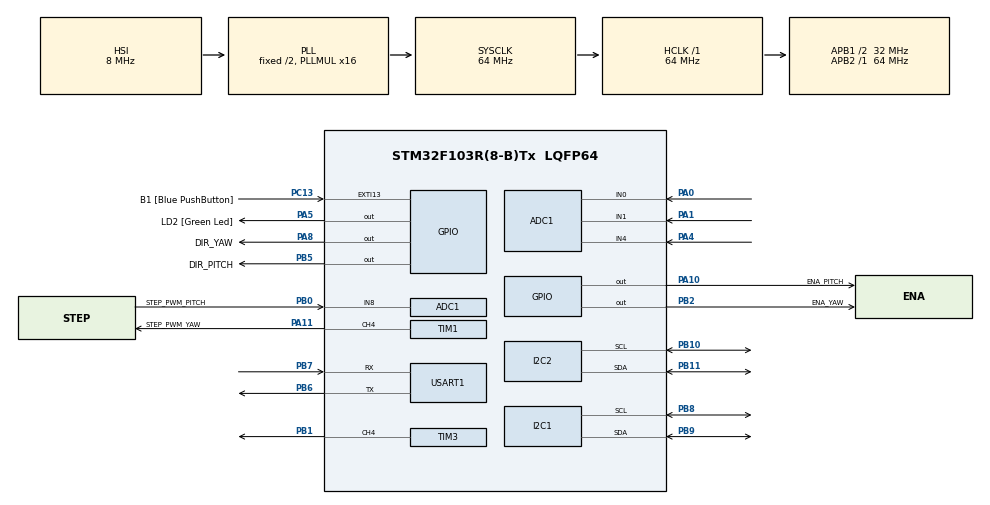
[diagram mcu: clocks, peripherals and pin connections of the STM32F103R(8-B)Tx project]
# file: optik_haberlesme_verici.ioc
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ADC1.Channel-1\#ChannelRegularConversion=ADC_CHANNEL_0
ADC1.Channel-2\#ChannelRegularConversion=ADC_CHANNEL_1
ADC1.Channel-3\#ChannelRegularConversion=ADC_CHANNEL_4
ADC1.Channel-4\#ChannelRegularConversion=ADC_CHANNEL_8
ADC1.ContinuousConvMode=ENABLE
ADC1.NbrOfConversion=4
ADC1.NbrOfConversionFlag=1
ADC1.Rank-1\#ChannelRegularConversion=1
ADC1.Rank-2\#ChannelRegularConversion=2
ADC1.Rank-3\#ChannelRegularConversion=3
ADC1.Rank-4\#ChannelRegularConversion=4
ADC1.SamplingTime-1\#ChannelRegularConversion=ADC_SAMPLETIME_28CYCLES_5
ADC1.SamplingTime-2\#ChannelRegularConversion=ADC_SAMPLETIME_28CYCLES_5
ADC1.SamplingTime-3\#ChannelRegularConversion=ADC_SAMPLETIME_28CYCLES_5
ADC1.SamplingTime-4\#ChannelRegularConversion=ADC_SAMPLETIME_28CYCLES_5
ADC1.master=1
Dma.ADC1.0.Direction=DMA_PERIPH_TO_MEMORY
Dma.ADC1.0.Instance=DMA1_Channel1
Dma.ADC1.0.MemDataAlignment=DMA_MDATAALIGN_HALFWORD
Dma.ADC1.0.MemInc=DMA_MINC_ENABLE
Dma.ADC1.0.Mode=DMA_CIRCULAR
Dma.ADC1.0.PeriphDataAlignment=DMA_PDATAALIGN_HALFWORD
Dma.ADC1.0.PeriphInc=DMA_PINC_DISABLE
Dma.ADC1.0.Priority=DMA_PRIORITY_MEDIUM
Dma.Request0=ADC1
Dma.Request1=USART1_RX
Dma.Request2=USART1_TX
Dma.USART1_RX.1.Direction=DMA_PERIPH_TO_MEMORY
Dma.USART1_RX.1.Instance=DMA1_Channel5
Dma.USART1_RX.1.MemDataAlignment=DMA_MDATAALIGN_BYTE
Dma.USART1_RX.1.MemInc=DMA_MINC_ENABLE
Dma.USART1_RX.1.Mode=DMA_CIRCULAR
Dma.USART1_RX.1.PeriphDataAlignment=DMA_PDATAALIGN_BYTE
Dma.USART1_RX.1.PeriphInc=DMA_PINC_DISABLE
Dma.USART1_RX.1.Priority=DMA_PRIORITY_HIGH
Dma.USART1_TX.2.Direction=DMA_MEMORY_TO_PERIPH
Dma.USART1_TX.2.Instance=DMA1_Channel4
Dma.USART1_TX.2.MemDataAlignment=DMA_MDATAALIGN_BYTE
Dma.USART1_TX.2.MemInc=DMA_MINC_ENABLE
Dma.USART1_TX.2.Mode=DMA_NORMAL
Dma.USART1_TX.2.PeriphDataAlignment=DMA_PDATAALIGN_BYTE
Dma.USART1_TX.2.PeriphInc=DMA_PINC_DISABLE
Dma.USART1_TX.2.Priority=DMA_PRIORITY_HIGH
Mcu.Family=STM32F1
Mcu.Name=STM32F103R(8-B)Tx
Mcu.Package=LQFP64
NVIC.DMA1_Channel1_IRQn=true\:0\:0\:false\:false\:true\:false\:true\:true
NVIC.DMA1_Channel4_IRQn=true\:0\:0\:false\:false\:true\:false\:true\:true
NVIC.DMA1_Channel5_IRQn=true\:0\:0\:false\:false\:true\:false\:true\:true
NVIC.EXTI15_10_IRQn=true\:0\:0\:false\:false\:true\:true\:true\:true
NVIC.PriorityGroup=NVIC_PRIORITYGROUP_4
NVIC.USART1_IRQn=true\:0\:0\:false\:false\:true\:true\:true\:true
PA0-WKUP.Signal=ADCx_IN0
PA1.Signal=ADCx_IN1
PA10.GPIO_Label=ENA_PITCH
PA10.PinState=GPIO_PIN_SET
PA10.Signal=GPIO_Output
PA11.GPIO_Label=STEP_PWM_YAW
PA11.Signal=S_TIM1_CH4
PA13.GPIO_Label=TMS
PA13.Mode=Serial_Wire
PA13.Signal=SYS_JTMS-SWDIO
PA14.GPIO_Label=TCK
PA14.Mode=Serial_Wire
PA14.Signal=SYS_JTCK-SWCLK
PA2.GPIO_Mode=GPIO_MODE_AF_PP
PA2.GPIO_PuPd=GPIO_NOPULL
PA2.GPIO_Speed=GPIO_SPEED_FREQ_LOW
PA2.Signal=USART2_TX
PA3.GPIO_Label=USART_RX
PA3.GPIO_Mode=GPIO_MODE_AF_PP
PA3.GPIO_PuPd=GPIO_NOPULL
PA3.GPIO_Speed=GPIO_SPEED_FREQ_LOW
PA3.Signal=USART2_RX
PA4.Signal=ADCx_IN4
PA5.GPIO_Label=LD2 [Green Led]
PA5.GPIO_ModeDefaultOutputPP=GPIO_MODE_OUTPUT_PP
PA5.GPIO_PuPd=GPIO_NOPULL
PA5.GPIO_Speed=GPIO_SPEED_FREQ_LOW
PA5.Signal=GPIO_Output
PA8.GPIO_Label=DIR_YAW
PA8.Signal=GPIO_Output
PB0.GPIO_Label=STEP_PWM_PITCH
PB0.Signal=ADCx_IN8
PB1.Signal=S_TIM3_CH4
PB10.Mode=I2C
PB10.Signal=I2C2_SCL
PB11.Mode=I2C
PB11.Signal=I2C2_SDA
PB2.GPIO_Label=ENA_YAW
PB2.Signal=GPIO_Output
PB3.GPIO_Label=SWO
PB3.Signal=SYS_JTDO-TRACESWO
PB5.GPIO_Label=DIR_PITCH
PB5.Signal=GPIO_Output
PB6.Mode=Asynchronous
PB6.Signal=USART1_TX
PB7.Mode=Asynchronous
PB7.Signal=USART1_RX
PB8.Mode=I2C
PB8.Signal=I2C1_SCL
PB9.Mode=I2C
PB9.Signal=I2C1_SDA
PC13-TAMPER-RTC.GPIO_Label=B1 [Blue PushButton]
PC13-TAMPER-RTC.GPIO_PuPd=GPIO_NOPULL
PC13-TAMPER-RTC.Signal=GPXTI13
PC14-OSC32_IN.Mode=LSE-External-Oscillator
PC14-OSC32_IN.Signal=RCC_OSC32_IN
PC15-OSC32_OUT.Mode=LSE-External-Oscillator
PC15-OSC32_OUT.Signal=RCC_OSC32_OUT
PD0-OSC_IN.Mode=HSE-External-Clock-Source
PD0-OSC_IN.Signal=RCC_OSC_IN
PD1-OSC_OUT.Mode=HSE-External-Clock-Source
PD1-OSC_OUT.Signal=RCC_OSC_OUT
ProjectManager.HeapSize=0x200
ProjectManager.StackSize=0x400
ProjectManager.TargetToolchain=CMake
RCC.ADCPresc=RCC_ADCPCLK2_DIV8
RCC.AHBFreq_Value=64000000
RCC.APB1CLKDivider=RCC_HCLK_DIV2
RCC.APB1Freq_Value=32000000
RCC.APB1TimFreq_Value=64000000
RCC.APB2Freq_Value=64000000
RCC.APB2TimFreq_Value=64000000
RCC.HCLKFreq_Value=64000000
RCC.PLLMUL=RCC_PLL_MUL16
RCC.RTCClockSelection=RCC_RTCCLKSOURCE_LSE
RCC.SYSCLKFreq_VALUE=64000000
RCC.SYSCLKSource=RCC_SYSCLKSOURCE_PLLCLK
RCC.USBFreq_Value=64000000
SH.ADCx_IN0.0=ADC1_IN0,IN0
SH.ADCx_IN1.0=ADC1_IN1,IN1
SH.ADCx_IN4.0=ADC1_IN4,IN4
SH.ADCx_IN8.0=ADC1_IN8,IN8
SH.S_TIM1_CH4.0=TIM1_CH4,PWM Generation4 CH4
SH.S_TIM3_CH4.0=TIM3_CH4,PWM Generation4 CH4
TIM1.Channel-PWM\ Generation4\ CH4=TIM_CHANNEL_4
TIM1.Period=32000
TIM1.Prescaler=9
TIM3.Channel-PWM\ Generation4\ CH4=TIM_CHANNEL_4
TIM3.Period=32000
TIM3.Prescaler=9
USART1.VirtualMode=VM_ASYNC
board=NUCLEO-F103RB

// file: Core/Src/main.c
/* USER CODE BEGIN Header */
/**
  ******************************************************************************
  * @file           : main.c
  * @brief          : Main program body
  ******************************************************************************
  * @attention
  *
  * Copyright (c) 2026 STMicroelectronics.
  * All rights reserved.
  *
  * This software is licensed under terms that can be found in the LICENSE file
  * in the root directory of this software component.
  * If no LICENSE file comes with this software, it is provided AS-IS.
  *
  ******************************************************************************
  */
/* USER CODE END Header */
#include "main.h"

/* USER CODE BEGIN Includes */
#include "simulink_ecemelif/gimbal_controller.h"
#include "simulink_ecemelif/gimbal_controller_api.h"
#include "motor_drive/motor_drive.h"
#include "stm32f1xx_hal_gpio.h"
#include "enkoder/enkoder.h"
#include "stm32f1xx_hal_uart.h"
#include <math.h>
#include <string.h>
/* USER CODE END Includes */

ADC_HandleTypeDef hadc1;
DMA_HandleTypeDef hdma_adc1;

I2C_HandleTypeDef hi2c1;
I2C_HandleTypeDef hi2c2;

TIM_HandleTypeDef htim1;
TIM_HandleTypeDef htim3;

UART_HandleTypeDef huart1;
DMA_HandleTypeDef hdma_usart1_rx;
DMA_HandleTypeDef hdma_usart1_tx;

/* USER CODE BEGIN PV */
gimbal_t gimbal_st = {GIMBAL_STATE_IDLE};

/* timer indexes encapsulated in wrappers, no main-visible timing variables */
#define ADC_CHANNELS  4
#define ADC_VREF_MV   3300U   /* reference voltage in millivolts */
#define ADC_MAX_VAL   4095U   /* 12-bit */

#define UART_PKT_START_0   0xAAU
#define UART_PKT_START_1   0x55U
#define UART_PKT_END_0     0x22U
#define UART_PKT_END_1     0x99U
#define UART_PKT_DATA_LEN  16U
#define UART_PKT_TOTAL_LEN (2U + UART_PKT_DATA_LEN + 2U)  /* 20 bytes */

#define UART_COMM_TIMEOUT_MS  3000U

#define UART_RX_DMA_BUF_LEN  64U

volatile uint16_t adc_buf[ADC_CHANNELS];
static uint8_t uart_rx_dma_buf[UART_RX_DMA_BUF_LEN];
static uint16_t uart_rx_head = 0;
static uint8_t uart_comm_tx_buf[UART_PKT_TOTAL_LEN] = {
    UART_PKT_START_0, UART_PKT_START_1,
    0,0,0,0,0,0,0,0,0,0,0,0,0,0,0,0,
    UART_PKT_END_0, UART_PKT_END_1
};
static uint8_t uart_comm_tx_seq = 0;
static volatile uint32_t uart_comm_last_pkt_tick = 0;
MT6701_Handle enkoder_yaw   ={0};
MT6701_Handle enkoder_pitch ={0};
/* USER CODE END PV */

void SystemClock_Config(void);
static void MX_GPIO_Init(void);
static void MX_DMA_Init(void);
static void MX_ADC1_Init(void);
static void MX_TIM1_Init(void);
static void MX_USART1_UART_Init(void);
static void MX_I2C1_Init(void);
static void MX_I2C2_Init(void);
static void MX_TIM3_Init(void);
/* USER CODE BEGIN PFP */
static void SysTick_Init(void);
static void Task200Hz(void);
static void Task50Hz(void);
static void Task25Hz(void);
static void Task10Hz(void);
static void Task1Hz(void);
static void UART_Comm_Init(void);
static void UART_Comm_Send(void);
static void USART1_TX_SetGPIO_High(void);
static void USART1_TX_SetUART_AF(void);
static uint8_t UART_CheckRxPacket(void);
static void    UART_ClearRxBuffer(void);
float ADC_GetVolts(uint8_t ch);
/* USER CODE END PFP */

/* USER CODE BEGIN 0 */

static void SysTick_Init(void)
{
  if (HAL_SYSTICK_Config(HAL_RCC_GetHCLKFreq() / 1000U) != HAL_OK)
  {
    Error_Handler();
  }
  HAL_SYSTICK_CLKSourceConfig(SYSTICK_CLKSOURCE_HCLK);
}

static void UART_Comm_Init(void)
{
  /* Start continuous UART Rx in DMA circular mode. */
  HAL_UART_Receive_DMA(&huart1, uart_rx_dma_buf, UART_RX_DMA_BUF_LEN);
}

static void UART_Comm_Send(void)
{
  if (huart1.gState != HAL_UART_STATE_READY)
  {
    return;
  }

  uart_comm_tx_seq++;

  HAL_UART_Transmit_DMA(&huart1, (uint8_t*)uart_comm_tx_buf, sizeof(uart_comm_tx_buf));
}

static void USART1_TX_SetGPIO_High(void)
{
  GPIO_InitTypeDef GPIO_InitStruct = {0};
  GPIO_InitStruct.Pin   = GPIO_PIN_6;
  GPIO_InitStruct.Mode  = GPIO_MODE_OUTPUT_PP;
  GPIO_InitStruct.Speed = GPIO_SPEED_FREQ_HIGH;
  HAL_GPIO_Init(GPIOB, &GPIO_InitStruct);
  HAL_GPIO_WritePin(GPIOB, GPIO_PIN_6, GPIO_PIN_SET);
}

static void USART1_TX_SetUART_AF(void)
{
  GPIO_InitTypeDef GPIO_InitStruct = {0};
  GPIO_InitStruct.Pin   = GPIO_PIN_6;
  GPIO_InitStruct.Mode  = GPIO_MODE_AF_PP;
  GPIO_InitStruct.Speed = GPIO_SPEED_FREQ_HIGH;
  HAL_GPIO_Init(GPIOB, &GPIO_InitStruct);
}

static uint8_t UART_CheckRxPacket(void)
{
  uint16_t dma_write_pos = (uint16_t)(UART_RX_DMA_BUF_LEN - __HAL_DMA_GET_COUNTER(&hdma_usart1_rx));

  while (1)
  {
    uint16_t available = (uint16_t)((dma_write_pos - uart_rx_head + UART_RX_DMA_BUF_LEN) % UART_RX_DMA_BUF_LEN);
    if (available < UART_PKT_TOTAL_LEN) break;

    uint16_t i = uart_rx_head;
    if (uart_rx_dma_buf[i]                                                    == UART_PKT_START_0 &&
        uart_rx_dma_buf[(i + 1U)                       % UART_RX_DMA_BUF_LEN] == UART_PKT_START_1 &&
        uart_rx_dma_buf[(i + 2U + UART_PKT_DATA_LEN)  % UART_RX_DMA_BUF_LEN] == UART_PKT_END_0   &&
        uart_rx_dma_buf[(i + 3U + UART_PKT_DATA_LEN)  % UART_RX_DMA_BUF_LEN] == UART_PKT_END_1)
    {
      uart_rx_head = (uint16_t)((uart_rx_head + UART_PKT_TOTAL_LEN) % UART_RX_DMA_BUF_LEN);
      return 1U;
    }
    uart_rx_head = (uint16_t)((uart_rx_head + 1U) % UART_RX_DMA_BUF_LEN);
  }
  return 0U;
}

static void UART_ClearRxBuffer(void)
{
  memset(uart_rx_dma_buf, 0, UART_RX_DMA_BUF_LEN);
  uart_rx_head = (uint16_t)(UART_RX_DMA_BUF_LEN - __HAL_DMA_GET_COUNTER(&hdma_usart1_rx));
}

static void Task200Hz(void)
{
  static uint32_t next = 0;
  uint32_t now = HAL_GetTick();
  if (next == 0)
  {
    next = now + 5U;
  }

  if ((int32_t)(now - next) >= 0)
  {
    next += 5U;

    // Set Simulink inputs using new channel mapping: L=1, R=3, U=0, D=2
    gimbal_controller_set_L(ADC_GetVolts(1));
    gimbal_controller_set_R(ADC_GetVolts(3));
    gimbal_controller_set_U(ADC_GetVolts(0));
    gimbal_controller_set_D(ADC_GetVolts(2));

    if (MT6701_ReadAngle(&enkoder_pitch) == HAL_OK) {
      gimbal_controller_set_theta_meas_pitch(enkoder_pitch.angle_deg * (M_PI / 180.0f));
    }

    if (MT6701_ReadAngle(&enkoder_yaw) == HAL_OK) {
      gimbal_controller_set_theta_meas_yaw(enkoder_yaw.angle_deg * (M_PI / 180.0f));
    }
   //gimbal_controller_set_theta_meas_yaw(0.0);  // TODO: Set actual yaw measurement
  //gimbal_controller_set_theta_meas_pitch(0.0); // TODO: Set actual pitch measurement

    gimbal_controller_step();

    switch(gimbal_st.gimbal_state_et)
    {
      case GIMBAL_STATE_IDLE:
      {
        gimbal_st.gimbal_state_et = GIMBAL_STATE_SEARCHING;

        break;
      }
      case GIMBAL_STATE_SEARCHING:
      {
          double motor_direction_yaw = gimbal_controller_get_omega_cmd_yaw();
          double motor_direction_pitch = gimbal_controller_get_omega_cmd_pitch();
          boolean_T beam_valid = gimbal_controller_get_beam_valid();

          enable_motor(YAW_MOTOR);
          drive_motor(YAW_MOTOR, motor_direction_yaw > 0);
          enable_motor(PITCH_MOTOR);
          drive_motor(PITCH_MOTOR, motor_direction_pitch > 0);

          // Remain in SEARCHING until beam_valid becomes true
          if (beam_valid)
          {
              gimbal_st.gimbal_state_et = GIMBAL_STATE_TRACKING;
          }

        break;
      }
      case GIMBAL_STATE_TRACKING:
      {
          double motor_direction_yaw = gimbal_controller_get_omega_cmd_yaw();
          double motor_direction_pitch = gimbal_controller_get_omega_cmd_pitch();
          boolean_T beam_valid = gimbal_controller_get_beam_valid();
          boolean_T comm_enabled = gimbal_controller_get_comm_enabled();

          if (!beam_valid)
          {
              gimbal_st.gimbal_state_et = GIMBAL_STATE_SEARCHING;

              break;
          }

          enable_motor(YAW_MOTOR);
          drive_motor(YAW_MOTOR, motor_direction_yaw > 0);
          enable_motor(PITCH_MOTOR);
          drive_motor(PITCH_MOTOR, motor_direction_pitch > 0);

          if (comm_enabled)
          {
              USART1_TX_SetUART_AF();
              UART_Comm_Init();
              UART_ClearRxBuffer();
              uart_comm_last_pkt_tick = HAL_GetTick();
              gimbal_st.gimbal_state_et = GIMBAL_STATE_COMMUNICATION;
          }
        break;
      }
      case GIMBAL_STATE_COMMUNICATION:
      {
          if (UART_CheckRxPacket())
          {
              uart_comm_last_pkt_tick = HAL_GetTick();

          }

          if ((HAL_GetTick() - uart_comm_last_pkt_tick) >= UART_COMM_TIMEOUT_MS)
          {

            HAL_UART_DMAStop(&huart1);

            USART1_TX_SetGPIO_High();
            gimbal_st.gimbal_state_et = GIMBAL_STATE_SEARCHING;
          }
        break;
      }
    }
  }
}

static void Task50Hz(void)
{
  static uint32_t next = 0;
  uint32_t now = HAL_GetTick();
  if (next == 0)
  {
    next = now + 20U;
  }

  if ((int32_t)(now - next) >= 0)
  {

    next += 20U;

  }
}

static void Task25Hz(void)
{
  static uint32_t next = 0;
  uint32_t now = HAL_GetTick();
  if (next == 0)
  {
    next = now + 40U;
  }

  if ((int32_t)(now - next) >= 0)
  {
    next += 40U;
    /* TODO: 25 Hz action */
  }
}

static void Task10Hz(void)
{
  static uint32_t next = 0;
  uint32_t now = HAL_GetTick();
  if (next == 0)
  {
    next = now + 100U;
  }

  if ((int32_t)(now - next) >= 0)
  {
    next += 100U;

    if (gimbal_st.gimbal_state_et == GIMBAL_STATE_COMMUNICATION)
    {
      UART_Comm_Send();
    }
  }
}

static void Task1Hz(void)
{
  static uint32_t next = 0;
  uint32_t now = HAL_GetTick();
  if (next == 0)
  {
    next = now + 1000U;

  }

  if ((int32_t)(now - next) >= 0)
  {
    HAL_GPIO_TogglePin(LD2_GPIO_Port, LD2_Pin);
    next += 1000U;
    /* TODO: 1 Hz action */
  }
}

/* USER CODE END 0 */

int main(void)
{

  /* MCU Configuration--------------------------------------------------------*/

  /* Reset of all peripherals, Initializes the Flash interface and the Systick. */
  HAL_Init();

  /* Configure the system clock */
  SystemClock_Config();

  /* Initialize all configured peripherals */
  MX_GPIO_Init();
  MX_DMA_Init();
  MX_ADC1_Init();
  MX_TIM1_Init();
  MX_USART1_UART_Init();
  MX_I2C1_Init();
  MX_I2C2_Init();
  MX_TIM3_Init();
  /* USER CODE BEGIN 2 */
  SysTick_Init();
  HAL_ADCEx_Calibration_Start(&hadc1);
  HAL_ADC_Start_DMA(&hadc1, (uint32_t *)adc_buf, ADC_CHANNELS);
  USART1_TX_SetGPIO_High();
  /* USER CODE END 2 */

  /* Infinite loop */
  /* USER CODE BEGIN WHILE */

  // ---- Initialize encoder ----
      if (MT6701_Init(&enkoder_yaw, &hi2c1) == HAL_OK) {

          // ---- (Optional) Set analog output mode ----
          // MT6701_SetAnalogOutput(&encoder);
          // MT6701_ProgramEEPROM(&encoder);  // Only if VDD = 5V!

      } else {

      }

            if (MT6701_Init(&enkoder_pitch, &hi2c2) == HAL_OK) {

          // ---- (Optional) Set analog output mode ----
          // MT6701_SetAnalogOutput(&encoder);
          // MT6701_ProgramEEPROM(&encoder);  // Only if VDD = 5V!

      } else {

      }

  while (1)
  {
    Task200Hz();
    Task50Hz();
    Task25Hz();
    Task10Hz();
    Task1Hz();
    /* USER CODE END WHILE */

  }
}

void SystemClock_Config(void)
{
  RCC_OscInitTypeDef RCC_OscInitStruct = {0};
  RCC_ClkInitTypeDef RCC_ClkInitStruct = {0};
  RCC_PeriphCLKInitTypeDef PeriphClkInit = {0};

  /** Initializes the RCC Oscillators according to the specified parameters
  * in the RCC_OscInitTypeDef structure.
  */
  RCC_OscInitStruct.OscillatorType = RCC_OSCILLATORTYPE_HSI;
  RCC_OscInitStruct.HSIState = RCC_HSI_ON;
  RCC_OscInitStruct.HSICalibrationValue = RCC_HSICALIBRATION_DEFAULT;
  RCC_OscInitStruct.PLL.PLLState = RCC_PLL_ON;
  RCC_OscInitStruct.PLL.PLLSource = RCC_PLLSOURCE_HSI_DIV2;
  RCC_OscInitStruct.PLL.PLLMUL = RCC_PLL_MUL16;
  if (HAL_RCC_OscConfig(&RCC_OscInitStruct) != HAL_OK)
  {
    Error_Handler();
  }

  /** Initializes the CPU, AHB and APB buses clocks
  */
  RCC_ClkInitStruct.ClockType = RCC_CLOCKTYPE_HCLK|RCC_CLOCKTYPE_SYSCLK
                              |RCC_CLOCKTYPE_PCLK1|RCC_CLOCKTYPE_PCLK2;
  RCC_ClkInitStruct.SYSCLKSource = RCC_SYSCLKSOURCE_PLLCLK;
  RCC_ClkInitStruct.AHBCLKDivider = RCC_SYSCLK_DIV1;
  RCC_ClkInitStruct.APB1CLKDivider = RCC_HCLK_DIV2;
  RCC_ClkInitStruct.APB2CLKDivider = RCC_HCLK_DIV1;

  if (HAL_RCC_ClockConfig(&RCC_ClkInitStruct, FLASH_LATENCY_2) != HAL_OK)
  {
    Error_Handler();
  }
  PeriphClkInit.PeriphClockSelection = RCC_PERIPHCLK_ADC;
  PeriphClkInit.AdcClockSelection = RCC_ADCPCLK2_DIV8;
  if (HAL_RCCEx_PeriphCLKConfig(&PeriphClkInit) != HAL_OK)
  {
    Error_Handler();
  }
}

static void MX_ADC1_Init(void)
{

  ADC_ChannelConfTypeDef sConfig = {0};

  /** Common config
  */
  hadc1.Instance = ADC1;
  hadc1.Init.ScanConvMode = ADC_SCAN_ENABLE;
  hadc1.Init.ContinuousConvMode = ENABLE;
  hadc1.Init.DiscontinuousConvMode = DISABLE;
  hadc1.Init.ExternalTrigConv = ADC_SOFTWARE_START;
  hadc1.Init.DataAlign = ADC_DATAALIGN_RIGHT;
  hadc1.Init.NbrOfConversion = 4;
  if (HAL_ADC_Init(&hadc1) != HAL_OK)
  {
    Error_Handler();
  }

  /** Configure Regular Channel
  */
  sConfig.Channel = ADC_CHANNEL_0;
  sConfig.Rank = ADC_REGULAR_RANK_1;
  sConfig.SamplingTime = ADC_SAMPLETIME_28CYCLES_5;
  if (HAL_ADC_ConfigChannel(&hadc1, &sConfig) != HAL_OK)
  {
    Error_Handler();
  }

  /** Configure Regular Channel
  */
  sConfig.Channel = ADC_CHANNEL_1;
  sConfig.Rank = ADC_REGULAR_RANK_2;
  if (HAL_ADC_ConfigChannel(&hadc1, &sConfig) != HAL_OK)
  {
    Error_Handler();
  }

  /** Configure Regular Channel
  */
  sConfig.Channel = ADC_CHANNEL_4;
  sConfig.Rank = ADC_REGULAR_RANK_3;
  if (HAL_ADC_ConfigChannel(&hadc1, &sConfig) != HAL_OK)
  {
    Error_Handler();
  }

  /** Configure Regular Channel
  */
  sConfig.Channel = ADC_CHANNEL_8;
  sConfig.Rank = ADC_REGULAR_RANK_4;
  if (HAL_ADC_ConfigChannel(&hadc1, &sConfig) != HAL_OK)
  {
    Error_Handler();
  }

}

static void MX_I2C1_Init(void)
{

  hi2c1.Instance = I2C1;
  hi2c1.Init.ClockSpeed = 100000;
  hi2c1.Init.DutyCycle = I2C_DUTYCYCLE_2;
  hi2c1.Init.OwnAddress1 = 0;
  hi2c1.Init.AddressingMode = I2C_ADDRESSINGMODE_7BIT;
  hi2c1.Init.DualAddressMode = I2C_DUALADDRESS_DISABLE;
  hi2c1.Init.OwnAddress2 = 0;
  hi2c1.Init.GeneralCallMode = I2C_GENERALCALL_DISABLE;
  hi2c1.Init.NoStretchMode = I2C_NOSTRETCH_DISABLE;
  if (HAL_I2C_Init(&hi2c1) != HAL_OK)
  {
    Error_Handler();
  }

}

static void MX_I2C2_Init(void)
{

  hi2c2.Instance = I2C2;
  hi2c2.Init.ClockSpeed = 100000;
  hi2c2.Init.DutyCycle = I2C_DUTYCYCLE_2;
  hi2c2.Init.OwnAddress1 = 0;
  hi2c2.Init.AddressingMode = I2C_ADDRESSINGMODE_7BIT;
  hi2c2.Init.DualAddressMode = I2C_DUALADDRESS_DISABLE;
  hi2c2.Init.OwnAddress2 = 0;
  hi2c2.Init.GeneralCallMode = I2C_GENERALCALL_DISABLE;
  hi2c2.Init.NoStretchMode = I2C_NOSTRETCH_DISABLE;
  if (HAL_I2C_Init(&hi2c2) != HAL_OK)
  {
    Error_Handler();
  }

}

static void MX_TIM1_Init(void)
{

  TIM_MasterConfigTypeDef sMasterConfig = {0};
  TIM_OC_InitTypeDef sConfigOC = {0};
  TIM_BreakDeadTimeConfigTypeDef sBreakDeadTimeConfig = {0};

  htim1.Instance = TIM1;
  htim1.Init.Prescaler = 9;
  htim1.Init.CounterMode = TIM_COUNTERMODE_UP;
  htim1.Init.Period = 32000;
  htim1.Init.ClockDivision = TIM_CLOCKDIVISION_DIV1;
  htim1.Init.RepetitionCounter = 0;
  htim1.Init.AutoReloadPreload = TIM_AUTORELOAD_PRELOAD_DISABLE;
  if (HAL_TIM_PWM_Init(&htim1) != HAL_OK)
  {
    Error_Handler();
  }
  sMasterConfig.MasterOutputTrigger = TIM_TRGO_RESET;
  sMasterConfig.MasterSlaveMode = TIM_MASTERSLAVEMODE_DISABLE;
  if (HAL_TIMEx_MasterConfigSynchronization(&htim1, &sMasterConfig) != HAL_OK)
  {
    Error_Handler();
  }
  sConfigOC.OCMode = TIM_OCMODE_PWM1;
  sConfigOC.Pulse = 0;
  sConfigOC.OCPolarity = TIM_OCPOLARITY_HIGH;
  sConfigOC.OCFastMode = TIM_OCFAST_DISABLE;
  sConfigOC.OCIdleState = TIM_OCIDLESTATE_RESET;
  sConfigOC.OCNIdleState = TIM_OCNIDLESTATE_RESET;
  if (HAL_TIM_PWM_ConfigChannel(&htim1, &sConfigOC, TIM_CHANNEL_4) != HAL_OK)
  {
    Error_Handler();
  }
  sBreakDeadTimeConfig.OffStateRunMode = TIM_OSSR_DISABLE;
  sBreakDeadTimeConfig.OffStateIDLEMode = TIM_OSSI_DISABLE;
  sBreakDeadTimeConfig.LockLevel = TIM_LOCKLEVEL_OFF;
  sBreakDeadTimeConfig.DeadTime = 0;
  sBreakDeadTimeConfig.BreakState = TIM_BREAK_DISABLE;
  sBreakDeadTimeConfig.BreakPolarity = TIM_BREAKPOLARITY_HIGH;
  sBreakDeadTimeConfig.AutomaticOutput = TIM_AUTOMATICOUTPUT_DISABLE;
  if (HAL_TIMEx_ConfigBreakDeadTime(&htim1, &sBreakDeadTimeConfig) != HAL_OK)
  {
    Error_Handler();
  }
  HAL_TIM_MspPostInit(&htim1);

}

static void MX_TIM3_Init(void)
{

  TIM_MasterConfigTypeDef sMasterConfig = {0};
  TIM_OC_InitTypeDef sConfigOC = {0};

  htim3.Instance = TIM3;
  htim3.Init.Prescaler = 9;
  htim3.Init.CounterMode = TIM_COUNTERMODE_UP;
  htim3.Init.Period = 32000;
  htim3.Init.ClockDivision = TIM_CLOCKDIVISION_DIV1;
  htim3.Init.AutoReloadPreload = TIM_AUTORELOAD_PRELOAD_DISABLE;
  if (HAL_TIM_PWM_Init(&htim3) != HAL_OK)
  {
    Error_Handler();
  }
  sMasterConfig.MasterOutputTrigger = TIM_TRGO_RESET;
  sMasterConfig.MasterSlaveMode = TIM_MASTERSLAVEMODE_DISABLE;
  if (HAL_TIMEx_MasterConfigSynchronization(&htim3, &sMasterConfig) != HAL_OK)
  {
    Error_Handler();
  }
  sConfigOC.OCMode = TIM_OCMODE_PWM1;
  sConfigOC.Pulse = 0;
  sConfigOC.OCPolarity = TIM_OCPOLARITY_HIGH;
  sConfigOC.OCFastMode = TIM_OCFAST_DISABLE;
  if (HAL_TIM_PWM_ConfigChannel(&htim3, &sConfigOC, TIM_CHANNEL_4) != HAL_OK)
  {
    Error_Handler();
  }
  HAL_TIM_MspPostInit(&htim3);

}

static void MX_USART1_UART_Init(void)
{

  huart1.Instance = USART1;
  huart1.Init.BaudRate = 115200;
  huart1.Init.WordLength = UART_WORDLENGTH_8B;
  huart1.Init.StopBits = UART_STOPBITS_1;
  huart1.Init.Parity = UART_PARITY_NONE;
  huart1.Init.Mode = UART_MODE_TX_RX;
  huart1.Init.HwFlowCtl = UART_HWCONTROL_NONE;
  huart1.Init.OverSampling = UART_OVERSAMPLING_16;
  if (HAL_UART_Init(&huart1) != HAL_OK)
  {
    Error_Handler();
  }

}

static void MX_DMA_Init(void)
{

  /* DMA controller clock enable */
  __HAL_RCC_DMA1_CLK_ENABLE();

  /* DMA interrupt init */
  /* DMA1_Channel1_IRQn interrupt configuration */
  HAL_NVIC_SetPriority(DMA1_Channel1_IRQn, 0, 0);
  HAL_NVIC_EnableIRQ(DMA1_Channel1_IRQn);
  /* DMA1_Channel4_IRQn interrupt configuration */
  HAL_NVIC_SetPriority(DMA1_Channel4_IRQn, 0, 0);
  HAL_NVIC_EnableIRQ(DMA1_Channel4_IRQn);
  /* DMA1_Channel5_IRQn interrupt configuration */
  HAL_NVIC_SetPriority(DMA1_Channel5_IRQn, 0, 0);
  HAL_NVIC_EnableIRQ(DMA1_Channel5_IRQn);

}

static void MX_GPIO_Init(void)
{
  GPIO_InitTypeDef GPIO_InitStruct = {0};

  /* GPIO Ports Clock Enable */
  __HAL_RCC_GPIOC_CLK_ENABLE();
  __HAL_RCC_GPIOD_CLK_ENABLE();
  __HAL_RCC_GPIOA_CLK_ENABLE();
  __HAL_RCC_GPIOB_CLK_ENABLE();

  /*Configure GPIO pin Output Level */
  HAL_GPIO_WritePin(GPIOA, LD2_Pin|DIR_YAW_Pin, GPIO_PIN_RESET);

  /*Configure GPIO pin Output Level */
  HAL_GPIO_WritePin(GPIOB, ENA_YAW_Pin|DIR_PITCH_Pin, GPIO_PIN_RESET);

  /*Configure GPIO pin Output Level */
  HAL_GPIO_WritePin(ENA_PITCH_GPIO_Port, ENA_PITCH_Pin, GPIO_PIN_SET);

  /*Configure GPIO pin : B1_Pin */
  GPIO_InitStruct.Pin = B1_Pin;
  GPIO_InitStruct.Mode = GPIO_MODE_IT_RISING;
  GPIO_InitStruct.Pull = GPIO_NOPULL;
  HAL_GPIO_Init(B1_GPIO_Port, &GPIO_InitStruct);

  /*Configure GPIO pins : PA2 USART_RX_Pin */
  GPIO_InitStruct.Pin = GPIO_PIN_2|USART_RX_Pin;
  GPIO_InitStruct.Mode = GPIO_MODE_AF_PP;
  GPIO_InitStruct.Speed = GPIO_SPEED_FREQ_LOW;
  HAL_GPIO_Init(GPIOA, &GPIO_InitStruct);

  /*Configure GPIO pins : LD2_Pin DIR_YAW_Pin ENA_PITCH_Pin */
  GPIO_InitStruct.Pin = LD2_Pin|DIR_YAW_Pin|ENA_PITCH_Pin;
  GPIO_InitStruct.Mode = GPIO_MODE_OUTPUT_PP;
  GPIO_InitStruct.Pull = GPIO_NOPULL;
  GPIO_InitStruct.Speed = GPIO_SPEED_FREQ_LOW;
  HAL_GPIO_Init(GPIOA, &GPIO_InitStruct);

  /*Configure GPIO pins : ENA_YAW_Pin DIR_PITCH_Pin */
  GPIO_InitStruct.Pin = ENA_YAW_Pin|DIR_PITCH_Pin;
  GPIO_InitStruct.Mode = GPIO_MODE_OUTPUT_PP;
  GPIO_InitStruct.Pull = GPIO_NOPULL;
  GPIO_InitStruct.Speed = GPIO_SPEED_FREQ_LOW;
  HAL_GPIO_Init(GPIOB, &GPIO_InitStruct);

  /* EXTI interrupt init*/
  HAL_NVIC_SetPriority(EXTI15_10_IRQn, 0, 0);
  HAL_NVIC_EnableIRQ(EXTI15_10_IRQn);

}

/* USER CODE BEGIN 4 */

/* Returns raw 12-bit ADC value (0..4095) for channel index 0..3 */
uint16_t ADC_GetRaw(uint8_t ch)
{
  if (ch >= ADC_CHANNELS) return 0;
  return adc_buf[ch];
}

/* Returns voltage in millivolts (0..3300 mV) for channel index 0..3 */
uint32_t ADC_GetMillivolts(uint8_t ch)
{
  return ((uint32_t)ADC_GetRaw(ch) * ADC_VREF_MV) / ADC_MAX_VAL;
}

/* Returns voltage as float in volts (0.0..3.3 V) for channel index 0..3 */
float ADC_GetVolts(uint8_t ch)
{
  return (float)ADC_GetRaw(ch) * (3.3f / 4095.0f);
}

void HAL_ADC_ConvCpltCallback(ADC_HandleTypeDef *hadc)
{
  if (hadc->Instance == ADC1)
  {
    /* adc_buf[0] = PA0 (CH0)
       adc_buf[1] = PA1 (CH1)
       adc_buf[2] = PA4 (CH4)
       adc_buf[3] = PB0 (CH8)
       Range: 0..3300 mV on all channels */
  }
}

void HAL_UART_RxCpltCallback(UART_HandleTypeDef *huart)
{
  (void)huart;
}

/* USER CODE END 4 */

void Error_Handler(void)
{
  __disable_irq();
  while (1)
  {
  }
}
